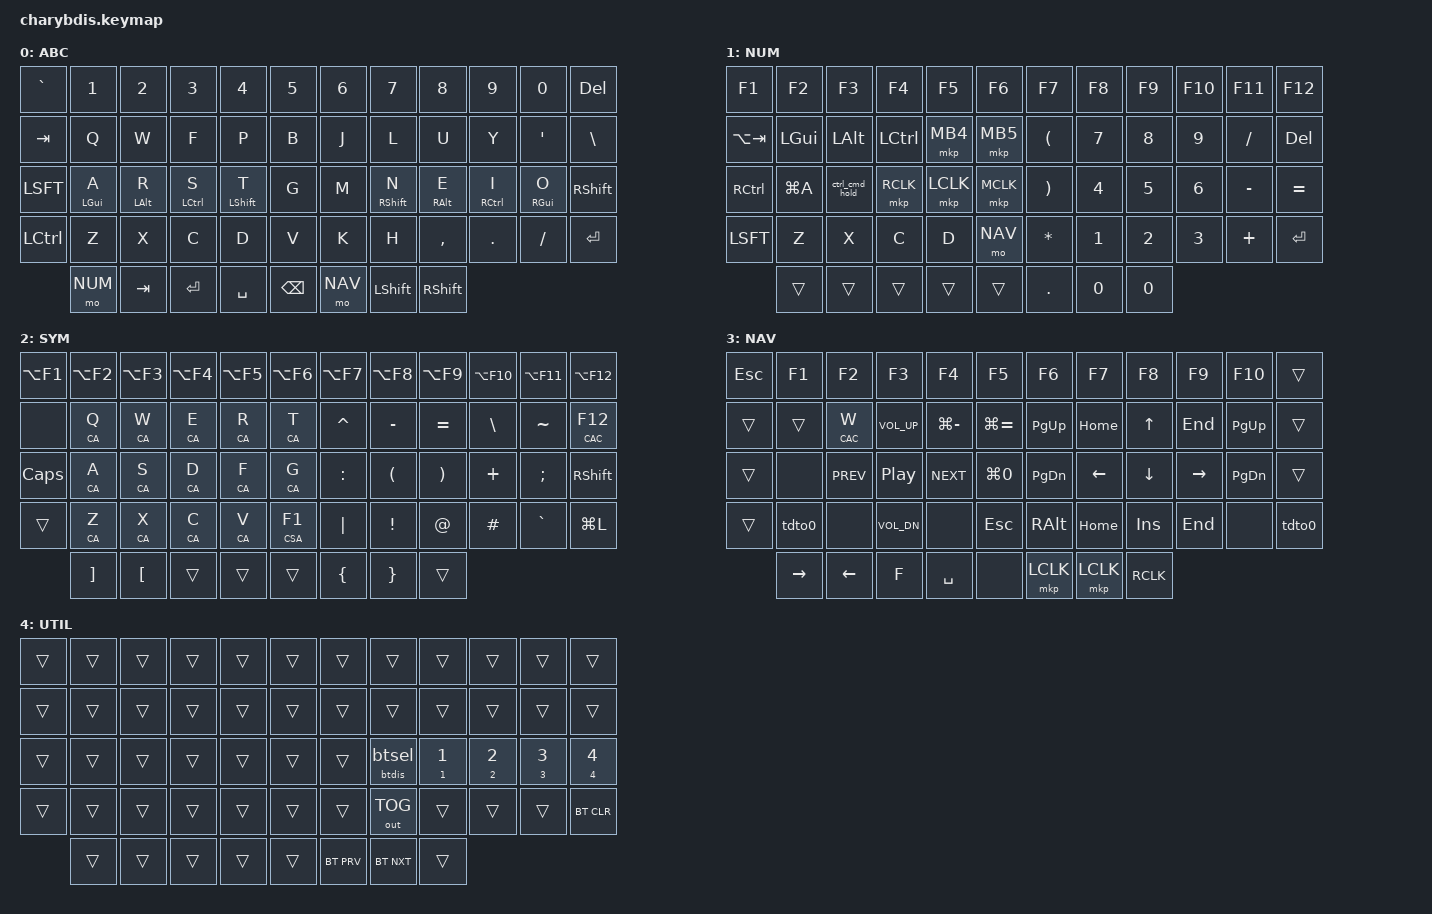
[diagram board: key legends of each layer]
#include <dt-bindings/zmk/mouse.h>
#include <behaviors/mouse_keys.dtsi>
#include <behaviors.dtsi>
#include <dt-bindings/zmk/bt.h>
#include <dt-bindings/zmk/keys.h>
#include <dt-bindings/zmk/outputs.h>
#include <dt-bindings/zmk/pointing.h>

/ {
    chosen { zmk,physical-layout = &charybdis_6col_layout; };
};

&mt {
    quick-tap-ms = <200>;
    flavor = "tap-preferred";
    tapping-term-ms = <170>;
};

&lt {
    quick-tap-ms = <200>;
    flavor = "tap-preferred";
    tapping-term-ms = <170>;
};

// Layer definitions
#define ABC 0
#define NUM 1
#define SYM 2
#define NAV 3
#define UTIL 4

/ {
  behaviors {
    // Hold-tap behavior for layer with tap-preferred
    blt: blt {
      compatible = "zmk,behavior-hold-tap";
      #binding-cells = <2>;
      flavor = "tap-preferred";
      tapping-term-ms = <200>;
      quick-tap-ms = <300>;
      require-prior-idle-ms = <100>;
      bindings = <&mo>, <&kp>;
    };

    // Home row mods - Left hand
    hml: home_row_mod_left {
      compatible = "zmk,behavior-hold-tap";
      #binding-cells = <2>;
      flavor = "balanced";
      require-prior-idle-ms = <150>;
      tapping-term-ms = <280>;
      quick-tap-ms = <175>;
      bindings = <&kp>, <&kp>;
      hold-trigger-key-positions = <6 7 8 9 10 11 18 19 20 21 22 23 30 31 32 33 34 35 42 43 44 45 46 47 53 54 55>; // Right side keys
      hold-trigger-on-release;
    };

    // Home row mods - Right hand
    hmr: home_row_mod_right {
      compatible = "zmk,behavior-hold-tap";
      #binding-cells = <2>;
      flavor = "balanced";
      require-prior-idle-ms = <150>;
      tapping-term-ms = <280>;
      quick-tap-ms = <175>;
      bindings = <&kp>, <&kp>;
      hold-trigger-key-positions = <0 1 2 3 4 5 12 13 14 15 16 17 24 25 26 27 28 29 36 37 38 39 40 41 48 49 50 51 52>; // Left side keys
      hold-trigger-on-release;
    };
    
    btht: bluetooth_hold_tap {
        compatible = "zmk,behavior-hold-tap";
        #binding-cells = <2>;
        flavor = "tap-preferred";
        tapping-term-ms = <2000>;
        require-prior-idle-ms = <100>;
        bindings = <&btdis>, <&btsel>;
    };

    tdto0: tap_dance_to_abc_layer {
        compatible = "zmk,behavior-tap-dance";
        #binding-cells = <0>;
        tapping-term-ms = <200>;
        bindings = <&none>, <&to ABC>;
    };

  };

  macros {
    // Ctrl+Alt+Cmd macro
    CAC: CAC {
      compatible = "zmk,behavior-macro-one-param";
      #binding-cells = <1>;
      bindings
        = <&macro_press &kp LCTRL &kp LALT &kp LGUI>
        , <&macro_param_1to1>
        , <&macro_tap &kp MACRO_PLACEHOLDER>
        , <&macro_release &kp LCTRL &kp LALT &kp LGUI>
        ;
    };

    // Ctrl+Shift+Alt macro
    CSA: CSA {
      compatible = "zmk,behavior-macro-one-param";
      #binding-cells = <1>;
      bindings
        = <&macro_press &kp LCTRL &kp LSHIFT &kp LALT>
        , <&macro_param_1to1>
        , <&macro_tap &kp MACRO_PLACEHOLDER>
        , <&macro_release &kp LCTRL &kp LSHIFT &kp LALT>
        ;
    };

    // Ctrl+Alt macro
    CA: CA {
      compatible = "zmk,behavior-macro-one-param";
      #binding-cells = <1>;
      bindings
        = <&macro_press &kp LCTRL &kp LALT>
        , <&macro_param_1to1>
        , <&macro_tap &kp MACRO_PLACEHOLDER>
        , <&macro_release &kp LCTRL &kp LALT>
        ;
    };

    // Hold Ctrl+Cmd+Left Click while key is pressed (for mouse drag window actions)
    ctrl_cmd_hold: ctrl_cmd_hold {
      compatible = "zmk,behavior-macro";
      wait-ms = <0>;
      tap-ms = <10>;
      #binding-cells = <0>;
      bindings
        = <&macro_press &kp LCTRL &kp LGUI &mkp LCLK>
        , <&macro_pause_for_release>
        , <&macro_release &mkp LCLK &kp LCTRL &kp LGUI>
        ;
    };
    
    btsel: bluetooth_select {
        compatible = "zmk,behavior-macro-one-param";
        #binding-cells = <1>;
        bindings
            = <&macro_param_1to2>
            , <&macro_tap &bt BT_SEL MACRO_PLACEHOLDER>
            , <&macro_tap &out OUT_BLE>
            ;
    };

    btdis: bluetooth_disconnect {
        compatible = "zmk,behavior-macro-one-param";
        #binding-cells = <1>;
        bindings
            = <&macro_param_1to2>
            , <&macro_tap &bt BT_DISC MACRO_PLACEHOLDER>
            ;
    };

  };

  
conditional_layers {
	compatible = "zmk,conditional-layers";
		
	tri_layer {
		if-layers = <NUM NAV>;
		then-layer = <UTIL>;
	};
};

combos {
compatible = "zmk,combos";
timeout-ms = <20>;
require-prior-idle-ms = <250>;

    // Studio Unlock Combo - all three right thumb keys
    combo_studio_unlock {
        timeout-ms = <50>;
        key-positions = <53 54 55>;
        bindings = <&studio_unlock>;
    };
    
	combo_st_left_click {
		timeout-ms = <25>;
		require-prior-idle-ms = <125>;
		key-positions = <27 28>;
		layers = <ABC NUM NAV>;
		bindings = <&mkp LCLK>;
	};
	combo_cd_right_click {
		timeout-ms = <25>;
		require-prior-idle-ms = <125>;
		key-positions = <39 40>;
		layers = <ABC NUM NAV>;
		bindings = <&mkp RCLK>;
	};
    combo_fp_caps_word {
        timeout-ms = <30>;
        key-positions = <15 16>;
        bindings = <&caps_word>;
    };
    combo_lu_del {
        timeout-ms = <30>;
        key-positions = <19 20>;
        bindings = <&kp DEL>;
    };
    combo_tic1_esc {
        timeout-ms = <30>;
        key-positions = <0 1>;
        bindings = <&kp ESC>;
    };
    combo_hdot_navlock {
        timeout-ms = <30>;
        key-positions = <26 28>;
        bindings = <&to NAV>;
    };
    combo_ztick_navlock {
        timeout-ms = <30>;
        key-positions = <0 36>;
        bindings = <&to NAV>;
    };

};

  keymap {
    compatible = "zmk,keymap";

// ╭─────────────┬─────────────┬─────────────┬─────────────┬─────────────┬─────────────╮   ╭─────────────┬─────────────┬─────────────┬─────────────┬─────────────┬─────────────╮
//    0             1             2             3             4             5                 6             7             8             9            10            11
// ├─────────────┼─────────────┼─────────────┼─────────────┼─────────────┼─────────────┤   ├─────────────┼─────────────┼─────────────┼─────────────┼─────────────┼─────────────┤
//   12            13            14            15            16            17                18            19            20            21            22            23
// ├─────────────┼─────────────┼─────────────┼─────────────┼─────────────┼─────────────┤   ├─────────────┼─────────────┼─────────────┼─────────────┼─────────────┼─────────────┤
//   24            25            26            27            28            29                30            31            32            33            34            35
// ├─────────────┼─────────────┼─────────────┼─────────────┼─────────────┼─────────────┤   ├─────────────┼─────────────┼─────────────┼─────────────┼─────────────┼─────────────┤
//   36            37            38            39            40            41                42            43            44            45            46            47
// ╰─────────────┴─────────────┴─────────────┴─────────────┴─────────────┴─────────────╯   ╰─────────────┴─────────────┴─────────────┴─────────────┴─────────────┴─────────────╯
//               ╭─────────────┬─────────────┬─────────────┬─────────────┬─────────────╮   ╭─────────────┬─────────────┬─────────────╮
//                  48            49            50            51            52                53            54            55
//               ╰─────────────┴─────────────┴─────────────┴─────────────┴─────────────╯   ╰─────────────┴─────────────┴─────────────╯
//                                                                         Actual Key Positions
//                                          ╭─────────────┬─────────────┬─────────────╮    ╭─────────────┬─────────────╮
//                                             50           51            48                 55            54
//                                          ╰─────────────┼─────────────┼─────────────┤    ├─────────────┼─────────────╯
//                                                          52            49                 53
//                                                        ╰─────────────┴─────────────╯    ╰─────────────╯

    default_layer {
      label = "ABC";
      display-name = "ABC";
      bindings = <
// ╭─────────────┬─────────────┬─────────────┬─────────────┬─────────────┬─────────────╮   ╭─────────────┬─────────────┬─────────────┬─────────────┬─────────────┬─────────────╮
    &kp GRAVE     &kp N1        &kp N2        &kp N3        &kp N4        &kp N5            &kp N6        &kp N7        &kp N8        &kp N9        &kp N0        &kp DEL
// ├─────────────┼─────────────┼─────────────┼─────────────┼─────────────┼─────────────┤   ├─────────────┼─────────────┼─────────────┼─────────────┼─────────────┼─────────────┤
    &kp TAB       &kp Q         &kp W         &kp F         &kp P         &kp B             &kp J         &kp L         &kp U         &kp Y         &kp SQT       &kp BSLH
// ├─────────────┼─────────────┼─────────────┼─────────────┼─────────────┼─────────────┤   ├─────────────┼─────────────┼─────────────┼─────────────┼─────────────┼─────────────┤
    &kp LSFT      &hml LGUI A   &hml LALT R   &hml LCTRL S  &hml LSHIFT T &kp G             &kp M         &hml RSHIFT N  &hml RALT E  &hml RCTRL I  &hml RGUI O   &kp RSHFT
// ├─────────────┼─────────────┼─────────────┼─────────────┼─────────────┼─────────────┤   ├─────────────┼─────────────┼─────────────┼─────────────┼─────────────┼─────────────┤
    &kp LCTRL     &kp Z         &kp X         &kp C         &kp D         &kp V             &kp K         &kp H         &kp COMMA     &kp DOT       &kp FSLH      &kp ENTER
// ╰─────────────┴─────────────┴─────────────┴─────────────┴─────────────┴─────────────╯   ╰─────────────┴─────────────┴─────────────┴─────────────┴─────────────┴─────────────╯
//               ╭─────────────┬─────────────┬─────────────┬─────────────┬─────────────╮   ╭─────────────┬─────────────┬─────────────╮
                  &mo NUM       &kp TAB       &kp ENTER     &kp SPACE     &kp BSPC           &mo NAV      &kp LSHIFT    &kp RSHIFT
//               ╰─────────────┴─────────────┴─────────────┴─────────────┴─────────────╯   ╰─────────────┴─────────────┴─────────────╯
      >; 
    };

    num_layer {
      label = "NUM";
      display-name = "NUM";
      bindings = <
// ╭─────────────┬─────────────┬─────────────┬─────────────┬─────────────┬─────────────╮   ╭─────────────┬─────────────┬─────────────┬─────────────┬─────────────┬─────────────╮
    &kp F1        &kp F2        &kp F3        &kp F4        &kp F5            &kp F6        &kp F7        &kp F8        &kp F9        &kp F10       &kp F11       &kp F12
// ├─────────────┼─────────────┼─────────────┼─────────────┼─────────────┼─────────────┤   ├─────────────┼─────────────┼─────────────┼─────────────┼─────────────┼─────────────┤
    &kp LA(TAB)   &kp LGUI      &kp LALT      &kp LCTRL     &mkp MB4      &mkp MB5          &kp LPAR      &kp N7         &kp N8        &kp N9       &kp FSLH      &kp DEL
// ├─────────────┼─────────────┼─────────────┼─────────────┼─────────────┼─────────────┤   ├─────────────┼─────────────┼─────────────┼─────────────┼─────────────┼─────────────┤
    &kp RCTRL     &kp LG(A)     &ctrl_cmd_hold &mkp RCLK    &mkp LCLK     &mkp MCLK         &kp RPAR      &kp N4         &kp N5         &kp N6      &kp MINUS     &kp EQUAL
// ├─────────────┼─────────────┼─────────────┼─────────────┼─────────────┼─────────────┤   ├─────────────┼─────────────┼─────────────┼─────────────┼─────────────┼─────────────┤
    &kp LSFT      &kp Z         &kp X         &kp C         &kp D         &mo NAV           &kp STAR      &kp N1         &kp N2         &kp N3      &kp PLUS      &kp ENTER
// ╰─────────────┴─────────────┴─────────────┴─────────────┴─────────────┴─────────────╯   ╰─────────────┴─────────────┴─────────────┴─────────────┴─────────────┴─────────────╯
//               ╭─────────────┬─────────────┬─────────────┬─────────────┬─────────────╮   ╭─────────────┬─────────────┬─────────────╮
                  &trans        &trans        &trans        &trans        &trans            &kp DOT       &kp N0         &kp N0
//               ╰─────────────┴─────────────┴─────────────┴─────────────┴─────────────╯   ╰─────────────┴─────────────┴─────────────╯
      >;
    };

    sym_layer {
      label = "SYM";
      display-name = "SYM";
      bindings = <
// ╭─────────────┬─────────────┬─────────────┬─────────────┬─────────────┬─────────────╮   ╭─────────────┬─────────────┬─────────────┬─────────────┬─────────────┬─────────────╮
    &kp LA(F1)    &kp LA(F2)    &kp LA(F3)    &kp LA(F4)    &kp LA(F5)    &kp LA(F6)        &kp LA(F7)    &kp LA(F8)    &kp LA(F9)    &kp LA(F10)   &kp LA(F11)   &kp LA(F12)
// ├─────────────┼─────────────┼─────────────┼─────────────┼─────────────┼─────────────┤   ├─────────────┼─────────────┼─────────────┼─────────────┼─────────────┼─────────────┤
    &none         &CA Q         &CA W         &CA E         &CA R         &CA T             &kp CARET     &kp MINUS     &kp EQUAL     &kp BSLH      &kp TILDE     &CAC F12
// ├─────────────┼─────────────┼─────────────┼─────────────┼─────────────┼─────────────┤   ├─────────────┼─────────────┼─────────────┼─────────────┼─────────────┼─────────────┤
    &kp CAPS      &CA A         &CA S         &CA D         &CA F         &CA G             &kp COLON     &kp LPAR      &kp RPAR      &kp PLUS      &kp SEMI      &kp RSHFT
// ├─────────────┼─────────────┼─────────────┼─────────────┼─────────────┼─────────────┤   ├─────────────┼─────────────┼─────────────┼─────────────┼─────────────┼─────────────┤
    &trans        &CA Z         &CA X         &CA C         &CA V         &CSA F1           &kp PIPE      &kp EXCL      &kp AT        &kp HASH      &kp GRAVE     &kp LG(L)
// ╰─────────────┴─────────────┴─────────────┴─────────────┴─────────────┴─────────────╯   ╰─────────────┴─────────────┴─────────────┴─────────────┴─────────────┴─────────────╯
//               ╭─────────────┬─────────────┬─────────────┬─────────────┬─────────────╮   ╭─────────────┬─────────────┬─────────────╮
                  &kp RBKT      &kp LBKT      &trans        &trans        &trans            &kp LBRC      &kp RBRC        &trans
//               ╰─────────────┴─────────────┴─────────────┴─────────────┴─────────────╯   ╰─────────────┴─────────────┴─────────────╯
      >;
    };

    nav_layer {
      label = "NAV";
      display-name = "NAV";
      bindings = <
// ╭─────────────┬─────────────┬─────────────┬─────────────┬─────────────┬─────────────╮   ╭─────────────┬─────────────┬─────────────┬─────────────┬─────────────┬─────────────╮
    &kp ESC       &kp F1        &kp F2        &kp F3        &kp F4        &kp F5            &kp F6        &kp F7        &kp F8        &kp F9        &kp F10       &trans
// ├─────────────┼─────────────┼─────────────┼─────────────┼─────────────┼─────────────┤   ├─────────────┼─────────────┼─────────────┼─────────────┼─────────────┼─────────────┤
    &trans        &trans       &CAC W        &kp C_VOL_UP  &kp LG(MINUS) &kp LG(EQUAL)      &kp PG_UP     &kp HOME      &kp UP        &kp END       &kp PG_UP     &trans
// ├─────────────┼─────────────┼─────────────┼─────────────┼─────────────┼─────────────┤   ├─────────────┼─────────────┼─────────────┼─────────────┼─────────────┼─────────────┤
    &trans        &none         &kp C_PREV    &kp C_PP      &kp C_NEXT    &kp LG(N0)        &kp PG_DN     &kp LEFT      &kp DOWN      &kp RIGHT     &kp PG_DN     &trans
// ├─────────────┼─────────────┼─────────────┼─────────────┼─────────────┼─────────────┤   ├─────────────┼─────────────┼─────────────┼─────────────┼─────────────┼─────────────┤
    &trans        &tdto0        &none         &kp C_VOL_DN  &none         &kp ESC           &kp RALT      &kp HOME      &kp INS       &kp END       &none         &tdto0
// ╰─────────────┴─────────────┴─────────────┴─────────────┴─────────────┴─────────────╯   ╰─────────────┴─────────────┴─────────────┴─────────────┴─────────────┴─────────────╯
//               ╭─────────────┬─────────────┬─────────────┬─────────────┬─────────────╮   ╭─────────────┬─────────────┬─────────────╮
                  &kp RIGHT     &kp LEFT      &kp F         &kp SPACE     &none             &mkp LCLK     &mkp LCLK     &kp RCLK
//               ╰─────────────┴─────────────┴─────────────┴─────────────┴─────────────╯   ╰─────────────┴─────────────┴─────────────╯
      >;
    };

    util_layer {
      label = "UTIL";
      display-name = "UTIL";
      bindings = <
// ╭─────────────┬─────────────┬─────────────┬─────────────┬─────────────┬─────────────╮   ╭─────────────┬─────────────┬─────────────┬─────────────┬─────────────┬─────────────╮
    &trans        &trans        &trans        &trans        &trans        &trans            &trans        &trans        &trans        &trans        &trans        &trans
// ├─────────────┼─────────────┼─────────────┼─────────────┼─────────────┼─────────────┤   ├─────────────┼─────────────┼─────────────┼─────────────┼─────────────┼─────────────┤
    &trans        &trans        &trans        &trans        &trans        &trans            &trans        &trans        &trans        &trans        &trans        &trans
// ├─────────────┼─────────────┼─────────────┼─────────────┼─────────────┼─────────────┤   ├─────────────┼─────────────┼─────────────┼─────────────┼─────────────┼─────────────┤
    &trans        &trans        &trans        &trans        &trans        &trans            &trans        &btht 0 0     &btht 1 1     &btht 2 2     &btht 3 3     &btht 4 4
// ├─────────────┼─────────────┼─────────────┼─────────────┼─────────────┼─────────────┤   ├─────────────┼─────────────┼─────────────┼─────────────┼─────────────┼─────────────┤
    &trans        &trans        &trans        &trans        &trans        &trans            &trans        &out OUT_TOG  &trans        &trans        &trans        &bt BT_CLR
// ╰─────────────┴─────────────┴─────────────┴─────────────┴─────────────┴─────────────╯   ╰─────────────┴─────────────┴─────────────┴─────────────┴─────────────┴─────────────╯
//               ╭─────────────┬─────────────┬─────────────┬─────────────┬─────────────╮   ╭─────────────┬─────────────┬─────────────╮
                    &trans        &trans        &trans        &trans        &trans            &bt BT_PRV  &bt BT_NXT      &trans
//               ╰─────────────┴─────────────┴─────────────┴─────────────┴─────────────╯   ╰─────────────┴─────────────┴─────────────╯
      >;
    };
  };
};
